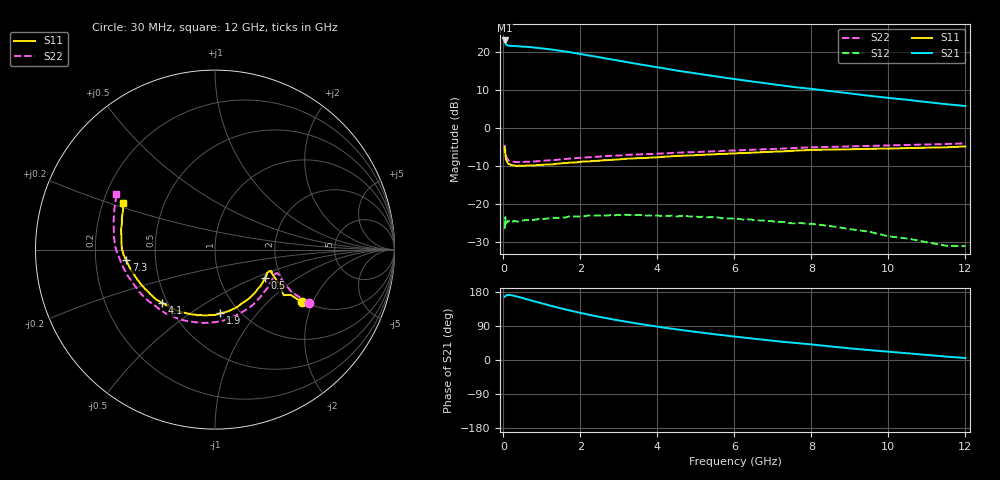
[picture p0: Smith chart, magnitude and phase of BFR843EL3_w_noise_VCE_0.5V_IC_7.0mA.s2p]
! Infineon Technologies  Discrete & RF Semiconductors
! BFR843EL3
! VCE =  0.5 V,  IC =  7.0 mA
! Common Emitter S-Parameters:  Aug 2013
# GHz  S  MA  R  50
!  f  S11  S21  S12  S22
! GHz  MAG  ANG  MAG  ANG  MAG  ANG  MAG  ANG
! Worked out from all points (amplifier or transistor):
!   103 points, 30 MHz to 12 GHz, reference 50 ohm
!   highest |S21| = 23.0 dB at 30 MHz (marker M1)
!   |S21| within 3 dB of that: start of sweep to 1.667 GHz
!   unconditionally stable (mu >= 1): 6.545 GHz to end of sweep
!   at 400 MHz: K = 0.99, MSG = 23.0 dB, |S12| = -24.5 dB
!   at 3.7 GHz: K = 0.75, MSG = 19.7 dB, |S12| = -23.0 dB
!   at 12 GHz: K = 3.53, MAG = 10.0 dB, |S12| = -31.0 dB
!   lowest NFmin = 0.87 dB at 450 MHz
!   S11 on the Smith chart (normalised r, x): 30 MHz: 1.94, -1.65; 500 MHz: 1.64, -0.58; 1.9 GHz: 0.82, -0.66; 4.1 GHz: 0.47, -0.34; 7.3 GHz: 0.34, -0.05; 12 GHz: 0.28, +0.22
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0.03  0.5636 -31.1  14.17 166.7  0.0477 32.2  0.603 -29.7
0.04  0.4916 -30.9  13.46 167.6  0.0535 25.6  0.5293 -29.3
0.06  0.4036 -27.3  12.7 169.5  0.0529 12.1  0.4491 -27.0
0.1  0.3575 -24.1  12.25 171.4  0.0587 10.8  0.395 -23.1
0.15  0.339 -21.1  12.08 171.7  0.0614 8.5  0.372 -20.8
0.25  0.3242 -22.1  11.99 170.0  0.0595 5.7  0.3619 -21.8
0.5  0.3198 -29.7  11.75 163.3  0.0615 4.5  0.3597 -32.1
0.8  0.3239 -42.7  11.44 154.8  0.0626 5.0  0.3651 -45.7
1.2  0.3336 -60.2  10.85 143.9  0.0653 4.4  0.3781 -64.0
1.5  0.3454 -71.6  10.34 136.2  0.0671 3.8  0.3888 -76.2
1.9  0.3551 -85.1  9.597 126.5  0.0689 2.1  0.4046 -90.2
2.1  0.3649 -91.2  9.212 122.1  0.0696 1.6  0.411 -96.8
2.5  0.3731 -102.2  8.512 113.9  0.0713 0.7  0.4229 -108.4
3  0.389 -114.3  7.67 104.4  0.0725 -3.0  0.4384 -120.2
3.5  0.4038 -124.7  6.946 95.8  0.0723 -5.8  0.4512 -130.4
4.1  0.4187 -134.8  6.182 86.5  0.0705 -8.8  0.4638 -140.4
5.1  0.4435 -149.3  5.137 72.8  0.068 -12.7  0.4873 -154.4
6.1  0.4686 -161.0  4.343 60.8  0.0646 -16.9  0.5125 -165.6
7.3  0.4972 -173.1  3.594 47.6  0.0583 -20.4  0.5404 -176.9
8.5  0.5227 175.5  3.062 35.7  0.0518 -24.2  0.5684 172.4
10.5  0.5474 161.4  2.354 17.7  0.0355 -19.4  0.6019 158.9
12  0.5749 153.3  1.953 5.2  0.0282 2.3  0.6305 150.8
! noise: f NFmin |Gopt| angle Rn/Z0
0.45  0.87  0.11  24  0.12
0.9  0.89  0.12  40  0.13
1.5  0.92  0.13  53  0.13
1.9  0.93  0.13  59  0.13
2.4  0.95  0.14  71  0.12
3.5  0.99  0.15  90  0.12
5.5  1.06  0.2  127  0.11
8  1.14  0.29  166  0.08
10  1.21  0.41  208  0.05
